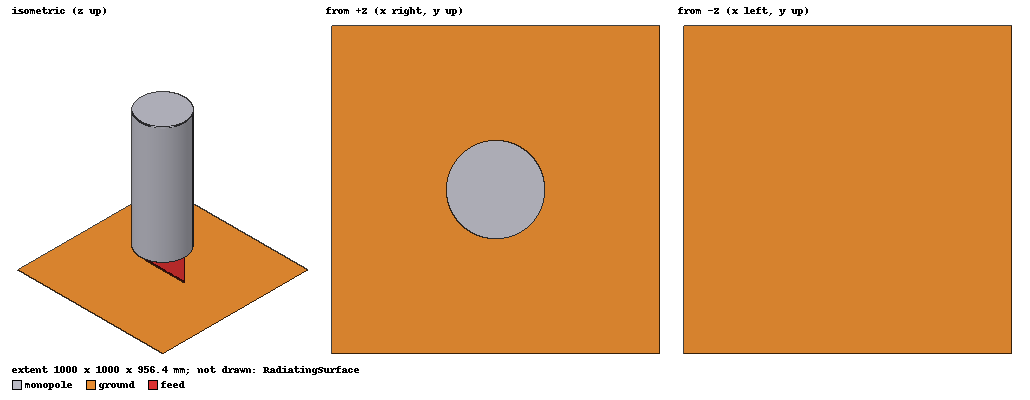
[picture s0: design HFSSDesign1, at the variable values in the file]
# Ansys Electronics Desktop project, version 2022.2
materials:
  vacuum: permittivity=1
  pec: conductivity=1e+30

design HFSSDesign1 (HFSS, DrivenModal, model units mm)
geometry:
  monopole [pec] = cylinder(axis=Z, base_centre=(0mm, 0mm, 150mm), radius=150mm, height=806.4mm)
  feed = rectangle(corner=(0mm, -150mm, 150mm), y_size=300mm, z_size=-150mm)
  ground = rectangle(corner=((1000/2) mm, (-1000/2) mm, 0mm), x_size=-1000mm, y_size=1000mm)
  RadiatingSurface [vacuum] = region(absolute_offset=1075.2688mm on all sides)
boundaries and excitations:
  PerfE1: Perfect E Objects=ground
  Open1: Radiation Objects=RadiatingSurface
  1: Lumped Port Objects=feed Modes{Mode1{IntLine{(0, 0, 0) -> (0, 0, 150)} CharImp=Zpi RenormImp=50ohm}} Impedance=50ohm
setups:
  Setup1: HfssDriven Frequency=93MHz MaxDeltaS=0.02 MaximumPasses=6 MinimumPasses=1 MinimumConvergedPasses=1 PercentRefinement=30 BasisOrder=1 PortAccuracy=2 DrivenSolverType="Direct Solver"
    sweep Sweep: 88MHz to 108MHz step 1MHz; Type=Fast SaveFields
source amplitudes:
  1:1: 1W 0deg
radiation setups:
  3D: Infinite Sphere Theta=0deg..180deg step 2deg Phi=-180deg..180deg step 2deg
  Elevation: Infinite Sphere Theta=-180deg..180deg step 1deg Phi=0deg..90deg step 90deg
  Azimuth: Infinite Sphere Theta=90deg..90deg step 0deg Phi=-180deg..180deg step 1deg
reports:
  S Parameter Plot 1: dB(S(1,1)) vs Freq on Setup1 : Sweep
  VSWR Plot 1: VSWR(1) vs Freq on Setup1 : Sweep
  S Parameter Plot 2: dB(S(1,1)) vs Freq, Freq on Setup1 : Sweep
  Gain Plot 1: GainTotal vs Phi, Theta on Setup1 : LastAdaptive, 3D [Freq=0.093GHz]
